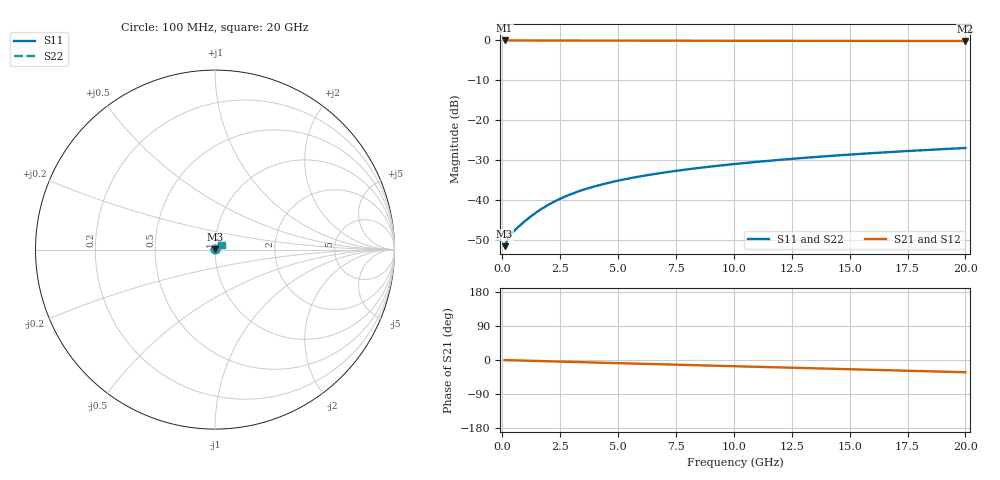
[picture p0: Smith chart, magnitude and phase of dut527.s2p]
! Touchstone file exported from HFSS 2026.1.0
!  File:  C:/ffzhzh/LocalFiles/Ansys_Project_Files/temp_train_BSMRDL_527_1783014698_46388.aedt
!  Generated:  01:52:57 AM Jul  3, 2026
!  Design:  BSMRDL
!  Project:  temp_train_BSMRDL_527_1783014698_46388
! Variables:
!  h_bsmrdl = 5.51um
!  h_ox = 20um
!  h_rdl = 5um
!  h_sub = 80um
!  h_tmrdl = 5um
!  h_tsv = 80um
!  h_via = 3um
!  l_bsmrdl = 586.32um
!  l_sub = 986.32um
!  l_tmrdl = 200um
!  m_sub = 200um
!  pitch = 21.47um
!  r_tsv = 6um
!  s_tmrdl = 10um
!  w_bsmrdl = 15.89um
!  w_sub = 500um
!  w_tmrdl = 12um
!  x_tsv_center1 = 206um
!  x_tsv_center2 = 808.21um
!  x_tsv_center3 = 1020.21um
!  x_tsv_center4 = 1622.42um
!  x_tsv_center5 = 1834.42um
!  x_tsv_center6 = 2436.63um
# GHz S MA R 50.000000
! Terminal data exported
! Port[1] = BSM_RDL1_1_T1
! Port[2] = BSM_RDL1_1_T2
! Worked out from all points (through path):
!   200 points, 100 MHz to 20 GHz, reference 50 ohm
!   highest |S21| = -0.02 dB at 100 MHz (marker M1); lowest = -0.2 dB at 20 GHz (marker M2)
!   group delay of S21, straight-line fit = 4.47 ps
!   lowest |S11| = -51.5 dB at 100 MHz (marker M3), VSWR 1.01, Z = 50.3 + j0.0752 ohm
!   |S11| at or under -10 dB: start of sweep to end of sweep
!   |S22| runs from -51.5 to -26.9 dB; largest |S21 - S12| = 6.3e-15
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0.1  0.00267 16.3  0.9974 -0.2  0.9974 -0.2  0.00267 16.3
! Gamma 0 0 0 0
! Port Impedance 50 0 50 0
0.2  0.003123 24.4  0.9972 -0.4  0.9972 -0.4  0.003125 24.5
0.3  0.003514 28.6  0.9969 -0.5  0.9969 -0.5  0.003521 28.7
0.4  0.003834 31.8  0.9967 -0.7  0.9967 -0.7  0.003846 31.8
0.5  0.00412 34.6  0.9966 -0.9  0.9966 -0.9  0.004135 34.6
0.9  0.005255 44.2  0.9962 -1.6  0.9962 -1.6  0.005269 44.0
1.2  0.006185 49.0  0.996 -2.1  0.996 -2.1  0.006193 48.9
1.4  0.006833 51.4  0.9959 -2.4  0.9959 -2.4  0.006838 51.2
1.9  0.00849 54.9  0.9954 -3.2  0.9954 -3.2  0.00849 54.8
2.4  0.01014 56.5  0.9949 -4.1  0.9949 -4.1  0.01013 56.4
2.9  0.01173 57.0  0.9944 -4.9  0.9944 -4.9  0.01173 56.9
3.5  0.01354 56.9  0.9937 -5.9  0.9937 -5.9  0.01354 56.8
4.2  0.01551 56.3  0.9929 -7.1  0.9929 -7.1  0.01552 56.2
4.9  0.01735 55.5  0.9921 -8.2  0.9921 -8.2  0.01737 55.3
5.8  0.01956 54.3  0.9912 -9.7  0.9912 -9.7  0.01958 54.2
6.8  0.02184 53.1  0.9903 -11.3  0.9903 -11.3  0.02187 52.9
8.3  0.02502 51.3  0.989 -13.7  0.989 -13.7  0.02506 51.0
10.1  0.02857 49.1  0.9877 -16.6  0.9877 -16.6  0.02864 48.8
11.7  0.03156 47.3  0.9866 -19.1  0.9866 -19.1  0.03164 46.9
13.4  0.03458 45.2  0.9856 -21.8  0.9856 -21.8  0.03469 44.8
16.7  0.04008 41.1  0.9837 -27.1  0.9837 -27.1  0.04024 40.5
20  0.04508 36.9  0.982 -32.3  0.982 -32.3  0.0453 36.1
